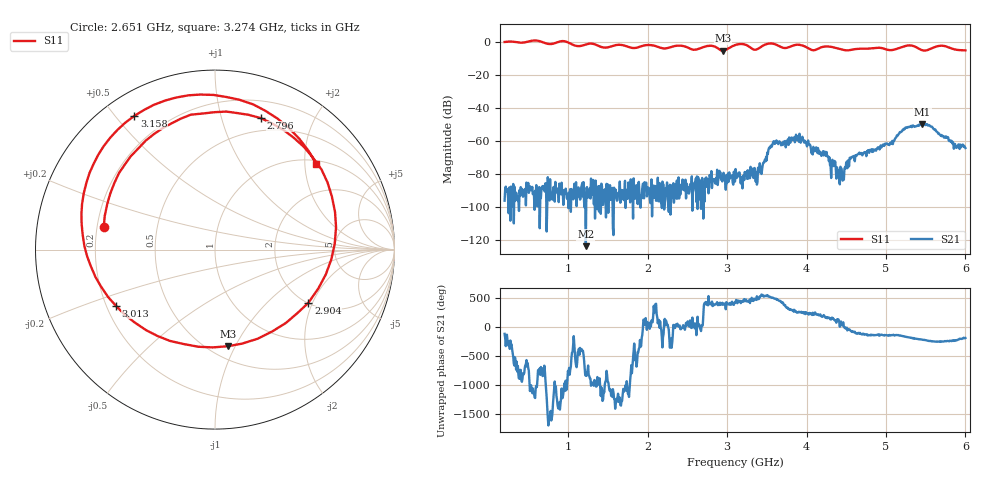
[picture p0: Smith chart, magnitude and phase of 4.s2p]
! NanoVNA-App
! Date: 2024-06-25 16:04:00
! Start: 200MHz Stop: 6GHz Points: 801
! S-Parameter data: F S11 S21 S12 S22
# Hz S RI R 50
!  Frequency  S11_Real  S11_Imag  S21_Real  S21_Imag  S12_Real  S12_Imag  S22_Real  S22_Imag
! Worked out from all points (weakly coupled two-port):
!   801 points, 200 MHz to 6 GHz, reference 50 ohm
!   highest |S21| = -49.70 dB at 5.456 GHz (marker M1); lowest = -123.8 dB at 1.222 GHz (marker M2)
!   lowest |S11| = -5.3 dB at 2.948 GHz (marker M3), VSWR 3.38, Z = 30.6 - j46.7 ohm
!   |S11| at or under -10 dB: nowhere
!   S12 and S22 are empty: the file has one direction only
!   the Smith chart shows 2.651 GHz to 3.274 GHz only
!   S11 on the Smith chart (normalised r, x): 2.651 GHz: 0.23, +0.09; 2.796 GHz: 0.36, +1.34; 2.904 GHz: 2.02, -1.86; 3.013 GHz: 0.24, -0.25; 3.158 GHz: 0.09, +0.56; 3.274 GHz: 1.08, +2.28
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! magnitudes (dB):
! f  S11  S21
! 200 MHz  0.0  -96.2
! 1.171 GHz  -2.2  -86.8
! 1.222 GHz  -1.5  -123.8
! 2.136 GHz  -3.0  -96.6
! 2.651 GHz  -4.0  -83.6
! 2.796 GHz  -2.2  -84.8
! 2.904 GHz  -4.5  -78.1
! 2.948 GHz  -5.3  -83.1
! 3.013 GHz  -3.9  -79.6
! 3.1 GHz  -1.9  -84.6
! 3.158 GHz  -1.2  -79.2
! 3.274 GHz  -2.6  -78.1
! 3.412 GHz  -3.4  -73.5
! 3.607 GHz  -1.4  -61.2
! 3.89 GHz  -1.6  -57.2
! 4.072 GHz  -4.9  -65.3
! 4.441 GHz  -4.5  -76.7
! 4.572 GHz  -4.6  -69.6
! 5.036 GHz  -4.8  -62.1
! 5.239 GHz  -2.5  -52.7
! 5.456 GHz  -4.9  -49.7
! 6 GHz  -5.0  -64.3
